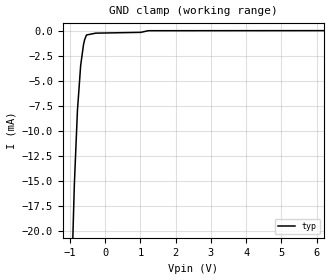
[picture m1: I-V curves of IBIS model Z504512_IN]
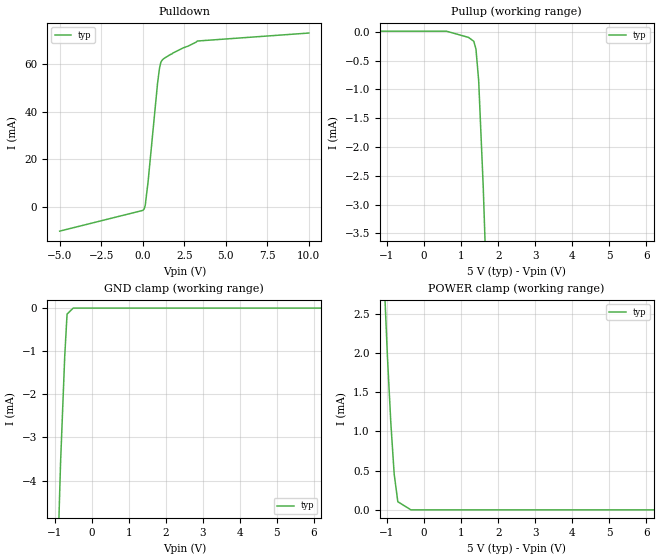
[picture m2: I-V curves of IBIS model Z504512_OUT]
| YOU ARE ONLY AUTHORIZED TO USE THIS SOFTWARE
| ACCORDING TO LICENSOR'S LICENSE RESTRICTIONS.
[IBIS Ver] 3.1
[File Name] sn74ls123d.ibs
[File Rev] 2.0
[Source] Measured and created by ICX Technology
[Date] Friday 7/14/00 9:08:16 AM
[Copyright]
| (C) COPYRIGHT 1993-2000
| MENTOR GRAPHICS CORPORATION
| ICX STANDARD LIBRARY, ICX PROJECT MODELING,
| ICX CUSTOM MODELING, ICX VENDOR MODEL
| ALL RIGHTS RESERVED.
| THE FOLLOWING ARE TRADEMARKS OR SERVICE MARKS OF
| MENTOR GRAPHICS CORPORATION:ICX (R), ICX STANDARD
| LIBRARY(R), ICX PROJECT MODELING(R), ICX CUSTOM
| MODELING(R), qualityIBIS(TM), MODELVIEWER(TM),
| AND MODELEDITOR(TM)
| ALL COPIES OF SOFTWARE, INCLUDING BUT NOT LIMITED TO
| ANY MODIFICATIONS, ENHANCEMENTS OR DERIVATIVE WORKS,
| MUST CONTAIN ALL MENTOR GRAPHICS CORPORATION'S
| NOTICES AND LEGENDS, INCLUDING THOSE EMBEDDED IN
| SOFTWARE AND THOSE AFFIXED TO SOFTWARE MEDIUM
| AND CONTAINER, AS RECEIVED FROM MENTOR GRAPHICS
| CORPORATION.
|  ZAP Model Builder 2.7
[Component] SN74LS123D
[Manufacturer] OnSemiconductor
[Package]
| variable   typ   min   max
R_pkg  .212ohms NA NA
L_pkg  4.758nH NA NA
C_pkg  1.143pF NA NA
[Pin] signal_name  model_name  R_pin  L_pin C_pin
1 A Z504512_IN .224 7.258n 1.578p
2 B Z504512_IN .216 5.258n 1.288p
3 _CLR Z504512_IN .208 3.758n .998p
4 _Q Z504512_OUT .2 2.758n .708p
5 Q Z504512_OUT .2 2.758n .708p
6 C_EXT NC .208 3.758n .998p
7 R_EXT_C_EXT NC .216 5.258n 1.288p
8 GND GND .224 7.258n 1.578p
9 A Z504512_IN .224 7.258n 1.578p
10 B Z504512_IN .216 5.258n 1.288p
11 _CLR Z504512_IN .208 3.758n .998p
12 _Q Z504512_OUT .2 2.758n .708p
13 Q Z504512_OUT .2 2.758n .708p
14 C_EXT NC .208 3.758n .998p
15 R_EXT_C_EXT NC .216 5.258n 1.288p
16 VCC POWER .224 7.258n 1.578p
| Models and submodels in the file (2): Z504512_IN (Input), Z504512_OUT (Output)
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| (C) COPYRIGHT 1993-2000
| MENTOR GRAPHICS CORPORATION
| ICX STANDARD LIBRARY, ICX PROJECT MODELING,
| ICX CUSTOM MODELING, ICX VENDOR MODEL
| ALL RIGHTS RESERVED.
| THE FOLLOWING ARE TRADEMARKS OR SERVICE MARKS OF
| MENTOR GRAPHICS CORPORATION:ICX (R), ICX STANDARD
| LIBRARY(R), ICX PROJECT MODELING(R), ICX CUSTOM
| MODELING(R), qualityIBIS(TM), MODELVIEWER(TM),
| AND MODELEDITOR(TM)
| ALL COPIES OF SOFTWARE, INCLUDING BUT NOT LIMITED TO
| ANY MODIFICATIONS, ENHANCEMENTS OR DERIVATIVE WORKS,
| MUST CONTAIN ALL MENTOR GRAPHICS CORPORATION'S
| NOTICES AND LEGENDS, INCLUDING THOSE EMBEDDED IN
| SOFTWARE AND THOSE AFFIXED TO SOFTWARE MEDIUM
| AND CONTAINER, AS RECEIVED FROM MENTOR GRAPHICS
| CORPORATION.
| Model Application Version 1.89 2/18/99.
[Model] Z504512_IN
Model_type Input
Vinl = 800.0mV
Vinh = 2.000V
C_comp 4.000pF NA NA
| variable typ   min   max
[Voltage Range] 5.000V NA NA
[GND Clamp Reference] 0.000V NA NA
[POWER Clamp Reference] 5.000V NA NA
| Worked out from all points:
|   GND clamp passes 1 mA (typ) near -0.59 V on its own axis
[GND Clamp]
-5V       -526.1mA   NA         NA
-871.6mV  -15.36mA   NA         NA
-785.2mV  -8.041mA   NA         NA
-693.5mV  -3.504mA   NA         NA
-613.7mV  -1.431mA   NA         NA
-581mV    -912.6uA   NA         NA
-527.3mV  -435.7uA   NA         NA
-263.7mV  -251.7uA   NA         NA
1.011V    -172.7uA   NA         NA
1.226V    -7.766uA   NA         NA
10V       5.239uA    NA         NA
[POWER Clamp]
-5V       0A         NA         NA
10V       0A         NA         NA
| (C) COPYRIGHT 1993-2000
| MENTOR GRAPHICS CORPORATION
| ICX STANDARD LIBRARY, ICX PROJECT MODELING,
| ICX CUSTOM MODELING, ICX VENDOR MODEL
| ALL RIGHTS RESERVED.
| THE FOLLOWING ARE TRADEMARKS OR SERVICE MARKS OF
| MENTOR GRAPHICS CORPORATION:ICX (R), ICX STANDARD
| LIBRARY(R), ICX PROJECT MODELING(R), ICX CUSTOM
| MODELING(R), qualityIBIS(TM), MODELVIEWER(TM),
| AND MODELEDITOR(TM)
| ALL COPIES OF SOFTWARE, INCLUDING BUT NOT LIMITED TO
| ANY MODIFICATIONS, ENHANCEMENTS OR DERIVATIVE WORKS,
| MUST CONTAIN ALL MENTOR GRAPHICS CORPORATION'S
| NOTICES AND LEGENDS, INCLUDING THOSE EMBEDDED IN
| SOFTWARE AND THOSE AFFIXED TO SOFTWARE MEDIUM
| AND CONTAINER, AS RECEIVED FROM MENTOR GRAPHICS
| CORPORATION.
| Model Application Version 1.89 2/18/99.
[Model] Z504512_OUT
Model_type Output
Vref=5.000V
Rref=2.000kohms
Cref=15.00pF
Vmeas=1.300V
C_comp 8.000pF NA NA
| variable typ   min   max
[Voltage Range] 5.000V NA NA
[POWER Clamp Reference] 5.000V NA NA
[Pullup Reference] 5.000V NA NA
[Pulldown Reference] 0.000V NA NA
[GND Clamp Reference] 0.000V NA NA
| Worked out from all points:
|   slope of the pulldown table from 0 to 0.75 V, typ, clamps not added: 17.4 ohm
|   slope of the pullup table from 0 to 0.75 V, typ, clamps not added: 28.4 kohm
|   GND clamp passes 1 mA (typ) near -0.72 V on its own axis
|   POWER clamp passes 1 mA (typ) near -0.88 V on its own axis
[GND Clamp]
-5V       -125.4mA   NA         NA
-839.8mV  -3.599mA   NA         NA
-726.6mV  -1.116mA   NA         NA
-663.8mV  -140.8uA   NA         NA
-497.9mV  0A         NA         NA
10V       0A         NA         NA
[Pulldown]
-5V       -10.14mA   NA         NA
9.766mV   -1.407mA   NA         NA
87.89mV   -772.4uA   NA         NA
151.4mV   746.2uA    NA         NA
319.3mV   10.47mA    NA         NA
888.4mV   51.77mA    NA         NA
1.004V    58.16mA    NA         NA
1.079V    60.56mA    NA         NA
1.122V    61.26mA    NA         NA
1.295V    62.52mA    NA         NA
3.282V    69.78mA    NA         NA
10V       73.14mA    NA         NA
[Pullup]
-5V       11.73uA    NA         NA
605mV     11.73uA    NA         NA
1.202V    -97uA      NA         NA
1.343V    -164.5uA   NA         NA
1.401V    -299.1uA   NA         NA
1.474V    -844.3uA   NA         NA
1.597V    -2.686mA   NA         NA
10V       -164.7mA   NA         NA
[POWER Clamp]
-5V       46.62mA    NA         NA
-991mV    1.978mA    NA         NA
-898mV    1.116mA    NA         NA
-806mV    453.2uA    NA         NA
-708mV    103.5uA    NA         NA
-354mV    0A         NA         NA
10V       0A         NA         NA
[Ramp]
| variable typ min max
dV/dt_r 1.859/7.802n NA NA
dV/dt_f 1.859/3.011n NA NA
R_load = 500.0Ohms
